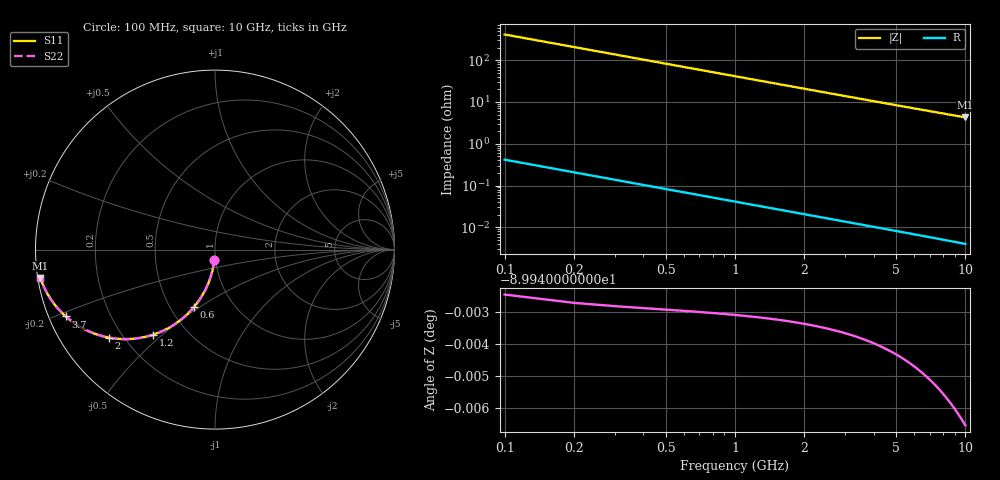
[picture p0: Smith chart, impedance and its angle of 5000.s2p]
# Hz S RI R 50.00
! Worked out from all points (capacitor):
!   100 points, 100 MHz to 10 GHz, reference 50 ohm
!   read as one part in shunt: C = 3.84 pF near 100 MHz
!   lowest |Z| = 4.28 ohm at 10 GHz (marker M1)
!   S11 on the Smith chart (normalised r, x): 100 MHz: 0.99, -0.12; 600 MHz: 0.66, -0.47; 1.2 GHz: 0.32, -0.47; 2 GHz: 0.15, -0.35; 3.7 GHz: 0.05, -0.21; 10 GHz: 0.01, -0.08
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1e8  -0.00368 -0.0601  0.9963 -0.0602  0.9963 -0.0602  -0.00368 -0.0601
2e8  -0.0145 -0.1188  0.9855 -0.119  0.9855 -0.119  -0.0145 -0.1188
3e8  -0.0319 -0.175  0.9681 -0.1753  0.9681 -0.1753  -0.0319 -0.175
4e8  -0.0552 -0.2277  0.9448 -0.2281  0.9448 -0.2281  -0.0552 -0.2277
5e8  -0.0836 -0.2761  0.9164 -0.2765  0.9164 -0.2765  -0.0836 -0.2761
6e8  -0.116 -0.3195  0.884 -0.32  0.884 -0.32  -0.116 -0.3195
7e8  -0.1515 -0.3577  0.8485 -0.3583  0.8485 -0.3583  -0.1515 -0.3577
9e8  -0.2276 -0.4184  0.7724 -0.4192  0.7724 -0.4192  -0.2276 -0.4184
1.2e9  -0.3434 -0.4738  0.6566 -0.4749  0.6566 -0.4749  -0.3434 -0.4738
1.5e9  -0.4493 -0.4963  0.5506 -0.4976  0.5506 -0.4976  -0.4493 -0.4963
1.8e9  -0.5399 -0.4971  0.4601 -0.4987  0.4601 -0.4987  -0.5399 -0.4971
2e9  -0.5914 -0.4902  0.4086 -0.492  0.4086 -0.492  -0.5914 -0.4902
2.3e9  -0.6565 -0.4733  0.3435 -0.4754  0.3435 -0.4754  -0.6565 -0.4733
2.6e9  -0.7092 -0.4524  0.2907 -0.4548  0.2907 -0.4548  -0.7092 -0.4524
3e9  -0.7643 -0.4226  0.2357 -0.4253  0.2357 -0.4253  -0.7643 -0.4226
3.4e9  -0.8061 -0.3933  0.1938 -0.3963  0.1938 -0.3963  -0.8061 -0.3933
3.7e9  -0.8311 -0.3725  0.1689 -0.3759  0.1689 -0.3759  -0.8311 -0.3725
4.3e9  -0.869 -0.335  0.131 -0.3389  0.131 -0.3389  -0.869 -0.335
5.1e9  -0.903 -0.2931  0.097 -0.2977  0.097 -0.2977  -0.903 -0.2931
6.7e9  -0.9413 -0.2315  0.0587 -0.2376  0.0587 -0.2376  -0.9413 -0.2315
8.4e9  -0.9618 -0.1872  0.0381 -0.1949  0.0381 -0.1949  -0.9618 -0.1872
1e10  -0.9728 -0.1575  0.0272 -0.1668  0.0272 -0.1668  -0.9728 -0.1575
